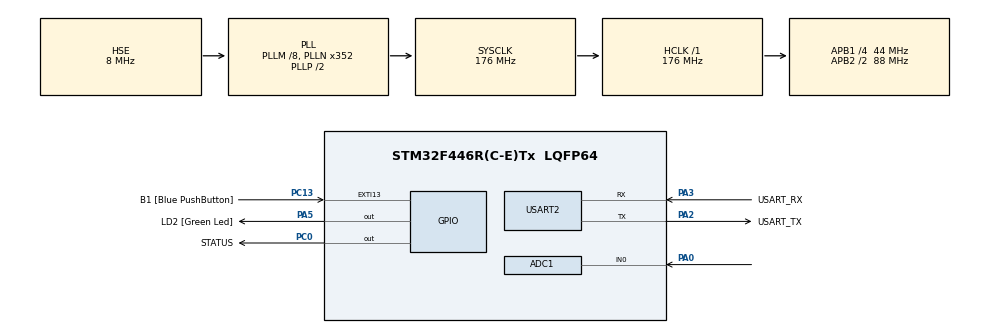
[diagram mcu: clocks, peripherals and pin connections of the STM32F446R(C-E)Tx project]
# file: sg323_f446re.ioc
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ADC1.Channel-0\#ChannelRegularConversion=ADC_CHANNEL_0
ADC1.ContinuousConvMode=DISABLE
ADC1.DMAContinuousRequests=ENABLE
ADC1.ExternalTrigConv=ADC_EXTERNALTRIGCONV_T3_TRGO
ADC1.NbrOfConversion=1
ADC1.NbrOfConversionFlag=1
ADC1.Rank-0\#ChannelRegularConversion=1
ADC1.SamplingTime-0\#ChannelRegularConversion=ADC_SAMPLETIME_3CYCLES
ADC1.master=1
Dma.ADC1.0.Direction=DMA_PERIPH_TO_MEMORY
Dma.ADC1.0.FIFOMode=DMA_FIFOMODE_DISABLE
Dma.ADC1.0.Instance=DMA2_Stream0
Dma.ADC1.0.MemDataAlignment=DMA_MDATAALIGN_HALFWORD
Dma.ADC1.0.MemInc=DMA_MINC_ENABLE
Dma.ADC1.0.Mode=DMA_CIRCULAR
Dma.ADC1.0.PeriphDataAlignment=DMA_PDATAALIGN_HALFWORD
Dma.ADC1.0.PeriphInc=DMA_PINC_DISABLE
Dma.ADC1.0.Priority=DMA_PRIORITY_LOW
Dma.Request0=ADC1
Mcu.Family=STM32F4
Mcu.Name=STM32F446R(C-E)Tx
Mcu.Package=LQFP64
NVIC.ADC_IRQn=true\:0\:0\:false\:false\:true\:true\:true\:true
NVIC.DMA2_Stream0_IRQn=true\:0\:0\:false\:false\:true\:false\:true\:true
NVIC.PriorityGroup=NVIC_PRIORITYGROUP_0
PA0-WKUP.Signal=ADCx_IN0
PA13.GPIO_Label=TMS
PA13.Mode=Serial_Wire
PA13.Signal=SYS_JTMS-SWDIO
PA14.GPIO_Label=TCK
PA14.Mode=Serial_Wire
PA14.Signal=SYS_JTCK-SWCLK
PA2.GPIO_Label=USART_TX
PA2.Mode=Asynchronous
PA2.Signal=USART2_TX
PA3.GPIO_Label=USART_RX
PA3.Mode=Asynchronous
PA3.Signal=USART2_RX
PA5.GPIO_Label=LD2 [Green Led]
PA5.Signal=GPIO_Output
PB3.GPIO_Label=SWO
PB3.Signal=SYS_JTDO-SWO
PC0.GPIO_Label=STATUS
PC0.GPIO_PuPd=GPIO_PULLUP
PC0.GPIO_Speed=GPIO_SPEED_FREQ_VERY_HIGH
PC0.Signal=GPIO_Output
PC13.GPIO_Label=B1 [Blue PushButton]
PC13.GPIO_ModeDefaultEXTI=GPIO_MODE_IT_FALLING
PC13.Signal=GPXTI13
PC14-OSC32_IN.Mode=LSE-External-Oscillator
PC14-OSC32_IN.Signal=RCC_OSC32_IN
PC15-OSC32_OUT.Mode=LSE-External-Oscillator
PC15-OSC32_OUT.Signal=RCC_OSC32_OUT
PH0-OSC_IN.Mode=HSE-External-Oscillator
PH0-OSC_IN.Signal=RCC_OSC_IN
PH1-OSC_OUT.Mode=HSE-External-Oscillator
PH1-OSC_OUT.Signal=RCC_OSC_OUT
ProjectManager.HeapSize=0x200
ProjectManager.StackSize=0x400
ProjectManager.TargetToolchain=STM32CubeIDE
RCC.48MHZClocksFreq_Value=84000000
RCC.AHBFreq_Value=176000000
RCC.APB1CLKDivider=RCC_HCLK_DIV4
RCC.APB1Freq_Value=44000000
RCC.APB1TimFreq_Value=88000000
RCC.APB2CLKDivider=RCC_HCLK_DIV2
RCC.APB2Freq_Value=88000000
RCC.APB2TimFreq_Value=176000000
RCC.CortexFreq_Value=176000000
RCC.FLatency-AdvancedSettings=FLASH_LATENCY_5
RCC.HCLKFreq_Value=176000000
RCC.HSE_VALUE=8000000
RCC.HSI_VALUE=16000000
RCC.PLLM=8
RCC.PLLN=352
RCC.PLLSourceVirtual=RCC_PLLSOURCE_HSE
RCC.SYSCLKFreq_VALUE=176000000
RCC.SYSCLKSource=RCC_SYSCLKSOURCE_PLLCLK
RCC.USBFreq_Value=176000000
RCC.VCOOutputFreq_Value=352000000
SH.ADCx_IN0.0=ADC1_IN0,IN0
TIM3.Prescaler=2750-1
TIM3.TIM_MasterOutputTrigger=TIM_TRGO_UPDATE
USART2.VirtualMode=VM_ASYNC
VP_TIM3_VS_ClockSourceINT.Mode=Internal
board=NUCLEO-F446RE

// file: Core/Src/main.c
/* USER CODE BEGIN Header */
/**
 ******************************************************************************
 * @file           : main.c
 * @brief          : Main program body
 ******************************************************************************
 * @attention
 *
 * Copyright (c) 2024 STMicroelectronics.
 * All rights reserved.
 *
 * This software is licensed under terms that can be found in the LICENSE file
 * in the root directory of this software component.
 * If no LICENSE file comes with this software, it is provided AS-IS.
 *
 ******************************************************************************
 */
/* USER CODE END Header */
#include "main.h"

/* USER CODE BEGIN Includes */
#include "sg323.h"
/* USER CODE END Includes */

ADC_HandleTypeDef hadc1;
DMA_HandleTypeDef hdma_adc1;

TIM_HandleTypeDef htim3;

UART_HandleTypeDef huart2;

void SystemClock_Config(void);
static void MX_GPIO_Init(void);
static void MX_DMA_Init(void);
static void MX_USART2_UART_Init(void);
static void MX_ADC1_Init(void);
static void MX_TIM3_Init(void);
/* USER CODE BEGIN PFP */
inline void calculateAddressRow(unsigned int result)
{
  __uint8_t bit6 = result << 1;
  bit6 = bit6 >> 7;
  __uint8_t MSB = result;
  MSB = MSB >> 7;
  delayCarryOut = result >> 8;
  rowDelay = result << 2;
  rowDelay = (rowDelay >> 1) | bit6 | (MSB << 7);
}
inline void calculateAddressColumn(unsigned int result, unsigned int rowDelay)
{
  __uint8_t colDelay = result << 2;
  colDelay = colDelay >> 2;
  delayAddress = (rowDelay) + (colDelay * 256);
}
/* USER CODE END PFP */

/* USER CODE BEGIN 0 */
__uint16_t dram[16384];
__uint8_t preDelay = 3;  // predelay from low to high (3,2,0,1,5,4,6,7,11,10,8,9,13,12,14,15)
__uint8_t program = 7;   // program from low to high (3,2,0,1,5,4,6,7)
__uint8_t decayTime = 7; // decay times from low to high (3,2,0,1,5,4,6,7)
__uint8_t rateLvl = 0;   // 0,1,3,7,15 RNG for testing
__uint16_t inputSample = 0;
__uint16_t feedbackSample = 0;
__uint16_t outputSampleLeft = 0;
__uint16_t outputSampleRight = 0;
float gainValue = 0;
/* USER CODE END 0 */

int main(void)
{

  /* MCU Configuration--------------------------------------------------------*/

  /* Reset of all peripherals, Initializes the Flash interface and the Systick. */
  HAL_Init();

  /* Configure the system clock */
  SystemClock_Config();

  /* Initialize all configured peripherals */
  MX_GPIO_Init();
  MX_DMA_Init();
  MX_USART2_UART_Init();
  MX_ADC1_Init();
  MX_TIM3_Init();

  /* Infinite loop */
  while (1)
  {

    /* USER CODE BEGIN 3 */
	HAL_GPIO_TogglePin(STATUS_GPIO_Port, STATUS_Pin);
    // calculate base address factors
    gainBaseAddr = (decayTime << 5) | (program << 8);
    preDelay_high = preDelay >> 3;
    preDelay_low = preDelay << 5;
    preDelay_low = preDelay_low >> 5;
    delayBaseAddr = (preDelay_low << 6) | (program << 9) | (preDelay_high << 12);
    // calculate write address
    // calculate address row
    result = nROW;
    calculateAddressRow(result);
    // calculate address column
    result = nCOLUMN + delayCarryOut;
    calculateAddressColumn(result, rowDelay);
    // store sample
    dram[delayAddress] = inputSample;
    // set up variables for feedback taps
    dly_mod_addr = delayModBaseAddr + 7;
    dly_addr = delayBaseAddr + 16;
    gainModContAddress = gainModContBaseAddr + 8;
    gainAddress = gainBaseAddr + 8;
    // calculate feedback taps
    for (int d = 0; d < 15; d++)
    {
      // calculate address to read from memory
      result = delayModData[dly_mod_addr + d] + nROW;
      calculateAddressRow(result);
      result = delayData[dly_addr + (d * 2)] + nCOLUMN + delayCarryOut;
      calculateAddressColumn(result, rowDelay);
      // calculate gain value
      gainModContOut = gainModCtrlData[gainModContAddress + d];
      nGainModEnable = gainModContOut >> 3;
      gainModContOut = gainModContOut << 5;
      gainModContOut = gainModContOut >> 5;
      gainModAddress = gainModContOut | gainModBaseAddr;
      gainModOut = gainModData[gainModAddress];
      gainOut = gainData[gainAddress + d];
      nGSN = gainOut >> 7;
      gainOut = gainOut << 1;
      if (gainModOut < gainOut && nGainModEnable == 0)
      {
        gainOut = gainModOut;
      }
      gainValue = gainOut * 0.00390625;
      // calculate sign
      if (nGSN == 0)
      {
        gainValue = gainValue * -1;
      }
      // read feedbackSample
      feedbackSample = (int)(dram[delayAddress] * gainValue);
    }
    // set up variables for output taps
    gainAddress = gainBaseAddr + 23;
    dly_mod_addr = delayBaseAddr + 45;
    dly_addr = delayBaseAddr + 46;
    // calculate left output taps
    for (int d = 0; d < 4; d++)
    {
      // calculate address to read from memory
      result = delayData[dly_mod_addr + (d * 2)] + nROW;
      calculateAddressRow(result);
      result = delayData[dly_addr + (d * 2)] + nCOLUMN + delayCarryOut;
      calculateAddressColumn(result, rowDelay);
      // calculate gain value
      gainOut = gainData[gainAddress + d];
      nGSN = gainOut >> 7;
      gainOut = gainOut << 1;
      gainValue = (float)(gainOut * 0.00390625);
      // calculate sign
      if (nGSN == 0)
      {
        gainValue = gainValue * -1;
      }
      // read left output sample
      outputSampleLeft = (int)(dram[delayAddress] * gainValue);
    }
    // calculate right output taps
    for (int d = 4; d < 8; d++)
    {
      // calculate address to read from memory
      result = delayData[dly_mod_addr + (d * 2)] + nROW;
      calculateAddressRow(result);
      result = delayData[dly_addr + (d * 2)] + nCOLUMN + delayCarryOut;
      calculateAddressColumn(result, rowDelay);
      // calculate gain value
      gainOut = gainData[gainAddress + d];
      nGSN = gainOut >> 7;
      gainOut = gainOut << 1;
      gainValue = (float)(gainOut * 0.00390625);
      // calculate sign
      if (nGSN == 0)
      {
        gainValue = gainValue * -1;
      }
      // read right output sample
      outputSampleRight = (int)(dram[delayAddress] * gainValue);
    }
    // mod rate counter
    modClockOut = modClockOut + 1;
    if (modClockOut == 16)
    {
      modRateCount = rateLvl | (program << 4);
      modClockOut = modRateCtrlData[modRateCount];
    }
    modCarry = (modClockOut + 1) >> 4;
    // advance write address & wraparound if < 0
    writeAddressCount = writeAddressCount - 1;
    if (writeAddressCount < 0)
    {
      writeAddressCount = 16383;
    }
    nROW = writeAddressCount;
    nCOLUMN = writeAddressCount >> 8;
    MCCK = modCarry;
    if (MCCK == 1)
    {
      modCount = modCount + 1;
      if (modCount > 8191)
      {
        modCount = 0;
      }

      gainModContBaseAddr = (modCount >> 6) << 5;
      gainModBaseAddr = modCount << 7;
      gainModBaseAddr = gainModBaseAddr >> 4;
      delayModCount = modCount >> 6;
      delayModBaseAddr = delayModCount << 5;
    }
  }
  /* USER CODE END 3 */
}

void SystemClock_Config(void)
{
  RCC_OscInitTypeDef RCC_OscInitStruct = {0};
  RCC_ClkInitTypeDef RCC_ClkInitStruct = {0};

  /** Configure the main internal regulator output voltage
  */
  __HAL_RCC_PWR_CLK_ENABLE();
  __HAL_PWR_VOLTAGESCALING_CONFIG(PWR_REGULATOR_VOLTAGE_SCALE1);

  /** Initializes the RCC Oscillators according to the specified parameters
  * in the RCC_OscInitTypeDef structure.
  */
  RCC_OscInitStruct.OscillatorType = RCC_OSCILLATORTYPE_HSE;
  RCC_OscInitStruct.HSEState = RCC_HSE_ON;
  RCC_OscInitStruct.PLL.PLLState = RCC_PLL_ON;
  RCC_OscInitStruct.PLL.PLLSource = RCC_PLLSOURCE_HSE;
  RCC_OscInitStruct.PLL.PLLM = 8;
  RCC_OscInitStruct.PLL.PLLN = 352;
  RCC_OscInitStruct.PLL.PLLP = RCC_PLLP_DIV2;
  RCC_OscInitStruct.PLL.PLLQ = 2;
  RCC_OscInitStruct.PLL.PLLR = 2;
  if (HAL_RCC_OscConfig(&RCC_OscInitStruct) != HAL_OK)
  {
    Error_Handler();
  }

  /** Activate the Over-Drive mode
  */
  if (HAL_PWREx_EnableOverDrive() != HAL_OK)
  {
    Error_Handler();
  }

  /** Initializes the CPU, AHB and APB buses clocks
  */
  RCC_ClkInitStruct.ClockType = RCC_CLOCKTYPE_HCLK|RCC_CLOCKTYPE_SYSCLK
                              |RCC_CLOCKTYPE_PCLK1|RCC_CLOCKTYPE_PCLK2;
  RCC_ClkInitStruct.SYSCLKSource = RCC_SYSCLKSOURCE_PLLCLK;
  RCC_ClkInitStruct.AHBCLKDivider = RCC_SYSCLK_DIV1;
  RCC_ClkInitStruct.APB1CLKDivider = RCC_HCLK_DIV4;
  RCC_ClkInitStruct.APB2CLKDivider = RCC_HCLK_DIV2;

  if (HAL_RCC_ClockConfig(&RCC_ClkInitStruct, FLASH_LATENCY_5) != HAL_OK)
  {
    Error_Handler();
  }
}

static void MX_ADC1_Init(void)
{

  ADC_ChannelConfTypeDef sConfig = {0};

  /** Configure the global features of the ADC (Clock, Resolution, Data Alignment and number of conversion)
  */
  hadc1.Instance = ADC1;
  hadc1.Init.ClockPrescaler = ADC_CLOCK_SYNC_PCLK_DIV4;
  hadc1.Init.Resolution = ADC_RESOLUTION_12B;
  hadc1.Init.ScanConvMode = DISABLE;
  hadc1.Init.ContinuousConvMode = DISABLE;
  hadc1.Init.DiscontinuousConvMode = DISABLE;
  hadc1.Init.ExternalTrigConvEdge = ADC_EXTERNALTRIGCONVEDGE_RISING;
  hadc1.Init.ExternalTrigConv = ADC_EXTERNALTRIGCONV_T3_TRGO;
  hadc1.Init.DataAlign = ADC_DATAALIGN_RIGHT;
  hadc1.Init.NbrOfConversion = 1;
  hadc1.Init.DMAContinuousRequests = ENABLE;
  hadc1.Init.EOCSelection = ADC_EOC_SINGLE_CONV;
  if (HAL_ADC_Init(&hadc1) != HAL_OK)
  {
    Error_Handler();
  }

  /** Configure for the selected ADC regular channel its corresponding rank in the sequencer and its sample time.
  */
  sConfig.Channel = ADC_CHANNEL_0;
  sConfig.Rank = 1;
  sConfig.SamplingTime = ADC_SAMPLETIME_3CYCLES;
  if (HAL_ADC_ConfigChannel(&hadc1, &sConfig) != HAL_OK)
  {
    Error_Handler();
  }

}

static void MX_TIM3_Init(void)
{

  TIM_ClockConfigTypeDef sClockSourceConfig = {0};
  TIM_MasterConfigTypeDef sMasterConfig = {0};

  htim3.Instance = TIM3;
  htim3.Init.Prescaler = 2750-1;
  htim3.Init.CounterMode = TIM_COUNTERMODE_UP;
  htim3.Init.Period = 65535;
  htim3.Init.ClockDivision = TIM_CLOCKDIVISION_DIV1;
  htim3.Init.AutoReloadPreload = TIM_AUTORELOAD_PRELOAD_DISABLE;
  if (HAL_TIM_Base_Init(&htim3) != HAL_OK)
  {
    Error_Handler();
  }
  sClockSourceConfig.ClockSource = TIM_CLOCKSOURCE_INTERNAL;
  if (HAL_TIM_ConfigClockSource(&htim3, &sClockSourceConfig) != HAL_OK)
  {
    Error_Handler();
  }
  sMasterConfig.MasterOutputTrigger = TIM_TRGO_UPDATE;
  sMasterConfig.MasterSlaveMode = TIM_MASTERSLAVEMODE_DISABLE;
  if (HAL_TIMEx_MasterConfigSynchronization(&htim3, &sMasterConfig) != HAL_OK)
  {
    Error_Handler();
  }

}

static void MX_USART2_UART_Init(void)
{

  huart2.Instance = USART2;
  huart2.Init.BaudRate = 115200;
  huart2.Init.WordLength = UART_WORDLENGTH_8B;
  huart2.Init.StopBits = UART_STOPBITS_1;
  huart2.Init.Parity = UART_PARITY_NONE;
  huart2.Init.Mode = UART_MODE_TX_RX;
  huart2.Init.HwFlowCtl = UART_HWCONTROL_NONE;
  huart2.Init.OverSampling = UART_OVERSAMPLING_16;
  if (HAL_UART_Init(&huart2) != HAL_OK)
  {
    Error_Handler();
  }

}

static void MX_DMA_Init(void)
{

  /* DMA controller clock enable */
  __HAL_RCC_DMA2_CLK_ENABLE();

  /* DMA interrupt init */
  /* DMA2_Stream0_IRQn interrupt configuration */
  HAL_NVIC_SetPriority(DMA2_Stream0_IRQn, 0, 0);
  HAL_NVIC_EnableIRQ(DMA2_Stream0_IRQn);

}

static void MX_GPIO_Init(void)
{
  GPIO_InitTypeDef GPIO_InitStruct = {0};

  /* GPIO Ports Clock Enable */
  __HAL_RCC_GPIOC_CLK_ENABLE();
  __HAL_RCC_GPIOH_CLK_ENABLE();
  __HAL_RCC_GPIOA_CLK_ENABLE();
  __HAL_RCC_GPIOB_CLK_ENABLE();

  /*Configure GPIO pin Output Level */
  HAL_GPIO_WritePin(STATUS_GPIO_Port, STATUS_Pin, GPIO_PIN_RESET);

  /*Configure GPIO pin Output Level */
  HAL_GPIO_WritePin(LD2_GPIO_Port, LD2_Pin, GPIO_PIN_RESET);

  /*Configure GPIO pin : B1_Pin */
  GPIO_InitStruct.Pin = B1_Pin;
  GPIO_InitStruct.Mode = GPIO_MODE_IT_FALLING;
  GPIO_InitStruct.Pull = GPIO_NOPULL;
  HAL_GPIO_Init(B1_GPIO_Port, &GPIO_InitStruct);

  /*Configure GPIO pin : STATUS_Pin */
  GPIO_InitStruct.Pin = STATUS_Pin;
  GPIO_InitStruct.Mode = GPIO_MODE_OUTPUT_PP;
  GPIO_InitStruct.Pull = GPIO_PULLUP;
  GPIO_InitStruct.Speed = GPIO_SPEED_FREQ_VERY_HIGH;
  HAL_GPIO_Init(STATUS_GPIO_Port, &GPIO_InitStruct);

  /*Configure GPIO pin : LD2_Pin */
  GPIO_InitStruct.Pin = LD2_Pin;
  GPIO_InitStruct.Mode = GPIO_MODE_OUTPUT_PP;
  GPIO_InitStruct.Pull = GPIO_NOPULL;
  GPIO_InitStruct.Speed = GPIO_SPEED_FREQ_LOW;
  HAL_GPIO_Init(LD2_GPIO_Port, &GPIO_InitStruct);

}

void Error_Handler(void)
{
  __disable_irq();
  while (1)
  {
  }
}
